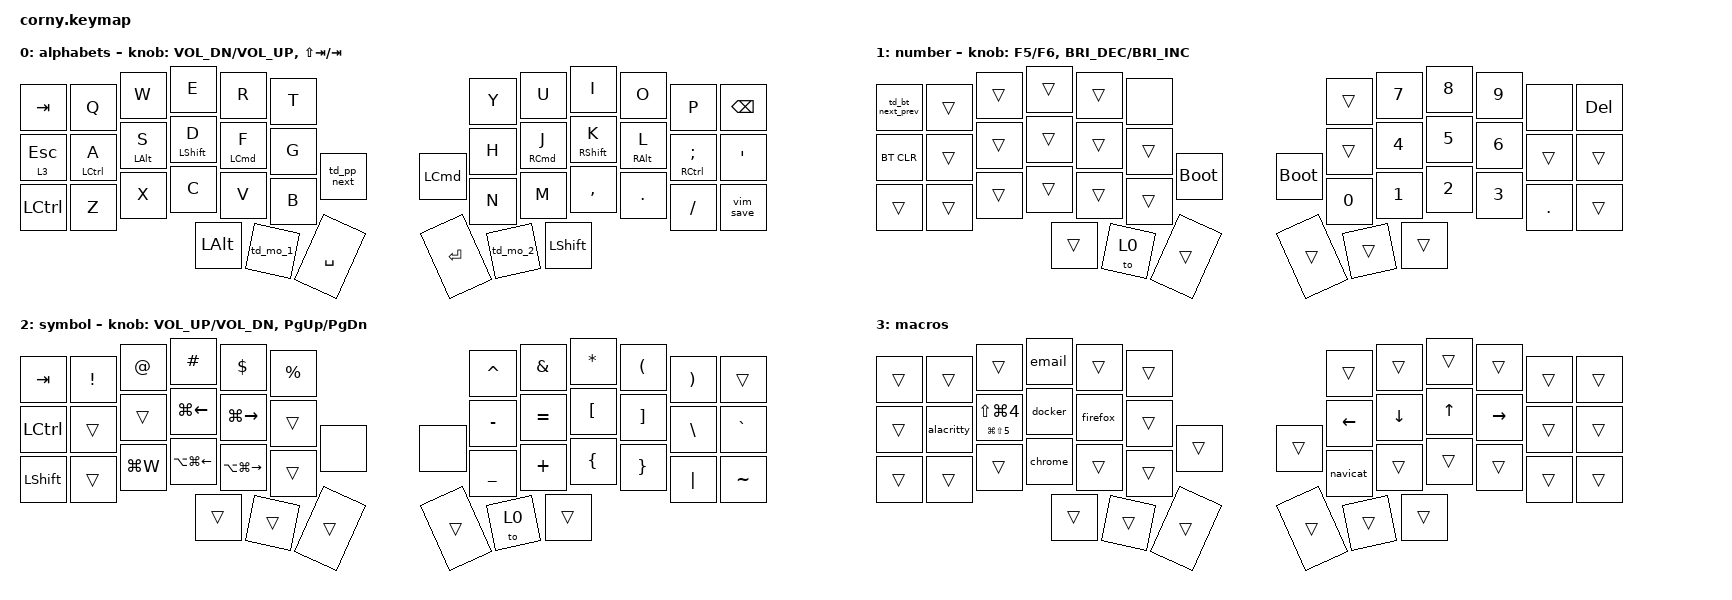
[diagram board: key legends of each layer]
#include <behaviors.dtsi>
#include <dt-bindings/zmk/bt.h>
#include <dt-bindings/zmk/keys.h>

&lt {
    flavor = "hold-preferred";
    tapping-term-ms = <280>;
    quick-tap-ms = <175>;
    require-prior-idle-ms = <0>;
    hold-trigger-on-release;
    hold-trigger-key-positions = <6 7 8 9 10 11 18 19 20 21 22 23 31 32 33 34 35 36 37 41 42 43 0 1 2 3 4 5 13 14 15 16 17 24 25 26 27 28 29 30 38 39 40 12>;
};

/ {
    combos {
        compatible = "zmk,combos";

        combo_studio_unlock {
            timeout-ms = <50>;
            key-positions = <0 1>;
            bindings = <&studio_unlock>;
        };
    };

    behaviors {
        td_mo_1: td_mo_1 {
            compatible = "zmk,behavior-tap-dance";
            label = "TD_MO_1";
            #binding-cells = <0>;
            bindings = <&mo 1>, <&to 1>;
        };

        td_mo_2: td_mo_2 {
            compatible = "zmk,behavior-tap-dance";
            label = "TD_MO_2";
            #binding-cells = <0>;
            bindings = <&mo 2>, <&to 2>;
        };

        home_row_mod_right: home_row_mod_right {
            compatible = "zmk,behavior-hold-tap";
            label = "HOME_ROW_MOD_RIGHT";
            bindings = <&kp>, <&kp>;

            #binding-cells = <2>;
            tapping-term-ms = <280>;
            quick-tap-ms = <175>;
            require-prior-idle-ms = <100>;
            flavor = "balanced";
            hold-trigger-key-positions = <0 1 2 3 4 5 12 13 14 15 16 17 24 25 26 27 28 29 40 39 38 30>;
            hold-trigger-on-release;
        };

        home_row_mod_left: home_row_mod_left {
            compatible = "zmk,behavior-hold-tap";
            label = "HOME_ROW_MOD_LEFT";
            bindings = <&kp>, <&kp>;

            #binding-cells = <2>;
            tapping-term-ms = <280>;
            quick-tap-ms = <175>;
            require-prior-idle-ms = <100>;
            flavor = "balanced";
            hold-trigger-key-positions = <6 7 8 9 10 11 18 19 20 21 22 23 31 32 33 34 35 36 37 41 42 43>;
            hold-trigger-on-release;
        };

        td_bt_next_prev: td_bt_next_prev {
            compatible = "zmk,behavior-tap-dance";
            label = "TD_BT_NEXT_PREV";
            #binding-cells = <0>;
            bindings = <&bt BT_NXT>, <&bt BT_PRV>;

            tapping-term-ms = <300>;
        };

        td_pp_next: td_pp_next {
            compatible = "zmk,behavior-tap-dance";
            label = "TD_PP_NEXT";
            #binding-cells = <0>;
            bindings = <&kp C_PLAY_PAUSE>, <&kp C_NEXT>;

            tapping-term-ms = <300>;
        };
    };

    macros {
        firefox: firefox {
            compatible = "zmk,behavior-macro";
            #binding-cells = <0>;
            bindings = <&kp LG(SPACE) &kp F &kp I &kp R &kp E &kp F &kp O &kp X &kp ENTER>;
            label = "FIREFOX";
        };

        chrome: chrome {
            compatible = "zmk,behavior-macro";
            #binding-cells = <0>;
            bindings = <&kp LG(SPACE) &kp C &kp H &kp R &kp O &kp M &kp E &kp ENTER>;
            label = "CHROME";
        };

        navicat: navicat {
            compatible = "zmk,behavior-macro";
            #binding-cells = <0>;
            bindings = <&kp LG(SPACE) &kp N &kp A &kp V &kp I &kp C &kp A &kp T &kp ENTER>;
            label = "NAVICAT";
        };

        docker: docker {
            compatible = "zmk,behavior-macro";
            #binding-cells = <0>;
            bindings = <&kp LG(SPACE) &kp D &kp O &kp C &kp K &kp E &kp R &kp ENTER>;
            label = "DOCKER";
        };

        alacritty: alacritty {
            compatible = "zmk,behavior-macro";
            #binding-cells = <0>;
            bindings = <&kp LG(SPACE) &kp A &kp L &kp A &kp C &kp R &kp I &kp T &kp T &kp Y &kp ENTER>;
            label = "ALACRITTY";
        };

        vim_save: vim_save {
            compatible = "zmk,behavior-macro";
            #binding-cells = <0>;
            bindings = <&kp ESC &kp COLON &kp W &kp ENTER>;
            label = "VIM_SAVE";
        };

        email: email {
            compatible = "zmk,behavior-macro";
            #binding-cells = <0>;
            bindings = <&kp A &kp K &kp A &kp R &kp S &kp H &kp DOT &kp N1 &kp N9 &kp N9 &kp N5 &kp DOT &kp N0 &kp N2 &kp AT &kp G &kp M &kp A &kp I &kp L &kp DOT &kp C &kp O &kp M>;
            label = "EMAIL";
        };
    };

    keymap {
        compatible = "zmk,keymap";

        default_layer {
            display-name = "alphabets";
            bindings = <
&kp TAB       &kp Q                       &kp W                          &kp E                        &kp R                              &kp T                                     &kp Y      &kp U                                &kp I                         &kp O                            &kp P                                   &kp BSPC
&lt 3 ESCAPE  &home_row_mod_left LCTRL A  &home_row_mod_left LEFT_ALT S  &home_row_mod_left LSHIFT D  &home_row_mod_left LEFT_COMMAND F  &kp G                                     &kp H      &home_row_mod_right RIGHT_COMMAND J  &home_row_mod_right RSHIFT K  &home_row_mod_right RIGHT_ALT L  &home_row_mod_right RIGHT_CONTROL SEMI  &kp SQT
&kp LCTRL     &kp Z                       &kp X                          &kp C                        &kp V                              &kp B      &td_pp_next  &kp LEFT_COMMAND  &kp N      &kp M                                &kp COMMA                     &kp DOT                          &kp FSLH                                &vim_save
                                                                         &kp LALT                     &td_mo_1                           &kp SPACE                                 &kp ENTER  &td_mo_2                             &kp LEFT_SHIFT
            >;

            sensor-bindings =
                <&inc_dec_kp C_VOL_DN C_VOL_UP>,
                <&inc_dec_kp LS(TAB) TAB>;
        };

        num_layer {
            display-name = "number";
            bindings = <
&td_bt_next_prev  &trans  &trans  &trans  &trans  &none                             &trans  &kp N7  &kp N8  &kp N9  &none    &kp DELETE
&bt BT_CLR        &trans  &trans  &trans  &trans  &trans                            &trans  &kp N4  &kp N5  &kp N6  &trans   &trans
&trans            &trans  &trans  &trans  &trans  &trans  &bootloader  &bootloader  &kp N0  &kp N1  &kp N2  &kp N3  &kp DOT  &trans
                                  &trans  &to 0   &trans                            &trans  &trans  &trans
            >;

            sensor-bindings =
                <&inc_dec_kp F5 F6>,
                <&inc_dec_kp C_BRIGHTNESS_DEC C_BRIGHTNESS_INC>;
        };

        symbol_layer {
            display-name = "symbol";
            bindings = <
&kp TAB    &kp EXCL  &kp AT     &kp HASH          &kp DLLR                 &kp PRCNT                &kp CARET  &kp AMPS   &kp STAR  &kp LPAR  &kp RPAR  &trans
&kp LCTRL  &trans    &trans     &kp LG(LEFT)      &kp LG(RIGHT_ARROW)      &trans                   &kp MINUS  &kp EQUAL  &kp LBKT  &kp RBKT  &kp BSLH  &kp GRAVE
&kp LSHFT  &trans    &kp LG(W)  &kp LA(LG(LEFT))  &kp LA(LG(RIGHT_ARROW))  &trans     &none  &none  &kp UNDER  &kp PLUS   &kp LBRC  &kp RBRC  &kp PIPE  &kp TILDE
                                &trans            &trans                   &trans                   &trans     &to 0      &trans
            >;

            sensor-bindings = <&inc_dec_kp C_VOL_UP C_VOL_DN &inc_dec_kp PG_UP PG_DN>;
        };

        macros {
            bindings = <
&trans  &trans      &trans                                 &email   &trans    &trans                  &trans    &trans    &trans  &trans     &trans  &trans
&trans  &alacritty  &mt LG(LS(NUMBER_5)) LS(LG(NUMBER_4))  &docker  &firefox  &trans                  &kp LEFT  &kp DOWN  &kp UP  &kp RIGHT  &trans  &trans
&trans  &trans      &trans                                 &chrome  &trans    &trans  &trans  &trans  &navicat  &trans    &trans  &trans     &trans  &trans
                                                           &trans   &trans    &trans                  &trans    &trans    &trans
            >;
        };
    };

    extra1 {
        display-name = "extra1";
        status = "reserved";
    };

    extra2 {
        display-name = "extra2";
        status = "reserved";
    };
};
